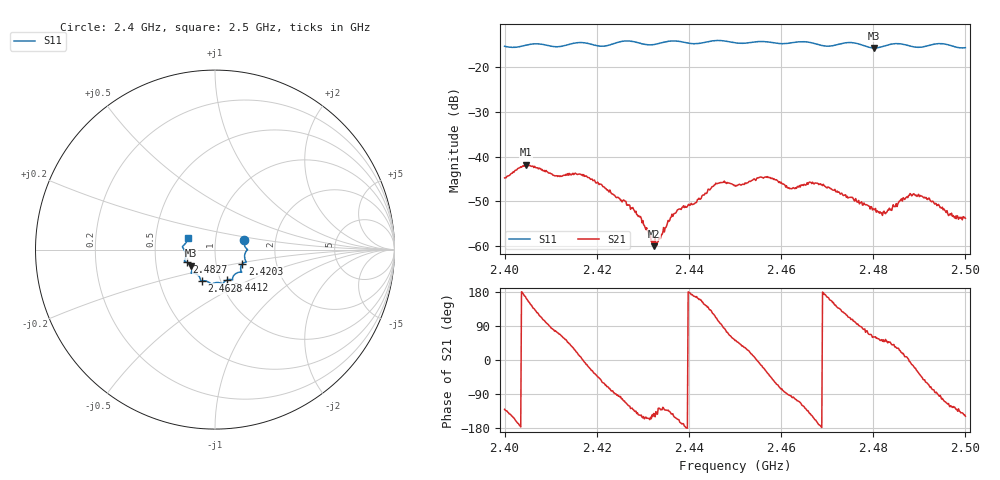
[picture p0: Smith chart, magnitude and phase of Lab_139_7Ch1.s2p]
# Hz S RI R 50
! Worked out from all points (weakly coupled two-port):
!   601 points, 2.4 GHz to 2.5 GHz, reference 50 ohm
!   highest |S21| = -41.80 dB at 2.4047 GHz (marker M1); lowest = -60.0 dB at 2.4325 GHz (marker M2)
!   lowest |S11| = -15.8 dB at 2.4802 GHz (marker M3), VSWR 1.39, Z = 37.5 - j6.92 ohm
!   |S11| at or under -10 dB: start of sweep to end of sweep
!   S12 and S22 are empty: the file has one direction only
!   S11 on the Smith chart (normalised r, x): 2.4 GHz: 1.38, +0.15; 2.4203 GHz: 1.34, -0.22; 2.4412 GHz: 1.08, -0.38; 2.4628 GHz: 0.82, -0.29; 2.4827 GHz: 0.72, -0.10; 2.5 GHz: 0.73, +0.10
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2.4e9  0.1617 0.0528  -0.00373 -0.00443  0 0  0 0
2.404667e9  0.1752 0.00538  -0.00778 0.00236  0 0  0 0
2.411e9  0.1664 -0.0252  0.00133 0.00595  0 0  0 0
2.416667e9  0.1741 -0.0691  0.00622 0.000594  0 0  0 0
2.420333e9  0.1524 -0.0795  0.00357 -0.00361  0 0  0 0
2.428e9  0.1448 -0.1258  -0.0017 -0.00193  0 0  0 0
2.4325e9  0.1042 -0.1446  -0.000786 -0.000624  0 0  0 0
2.433333e9  0.1001 -0.1521  -0.000689 -0.000898  0 0  0 0
2.4365e9  0.0983 -0.1687  -0.0017 -0.00133  0 0  0 0
2.441167e9  0.0683 -0.1685  -0.00291 0.000622  0 0  0 0
2.446e9  0.0425 -0.1927  -0.00176 0.00467  0 0  0 0
2.45e9  0.0245 -0.1846  0.00299 0.00374  0 0  0 0
2.456833e9  -0.0233 -0.1895  0.00505 -0.00303  0 0  0 0
2.462833e9  -0.0719 -0.1738  -0.000791 -0.00437  0 0  0 0
2.466667e9  -0.0809 -0.1675  -0.00416 -0.00276  0 0  0 0
2.480167e9  -0.1359 -0.0899  0.00125 0.00226  0 0  0 0
2.482667e9  -0.158 -0.0705  0.00134 0.00188  0 0  0 0
2.483333e9  -0.1631 -0.0683  0.00169 0.00189  0 0  0 0
2.4885e9  -0.1639 -0.0417  0.0036 -0.000825  0 0  0 0
2.491667e9  -0.1717 -0.0011  0.00165 -0.0029  0 0  0 0
2.497667e9  -0.1648 0.0338  -0.00116 -0.00171  0 0  0 0
2.5e9  -0.1511 0.0646  -0.00175 -0.00107  0 0  0 0
